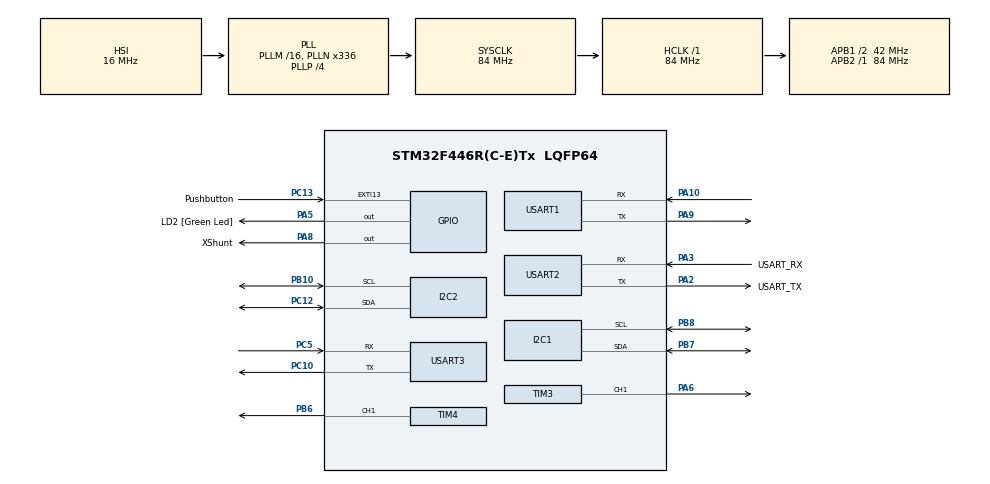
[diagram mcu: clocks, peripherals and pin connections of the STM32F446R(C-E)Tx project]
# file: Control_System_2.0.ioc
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ADC1.Channel-0\#ChannelRegularConversion=ADC_CHANNEL_TEMPSENSOR
ADC1.ContinuousConvMode=ENABLE
ADC1.DMAContinuousRequests=ENABLE
ADC1.NbrOfConversionFlag=1
ADC1.Rank-0\#ChannelRegularConversion=1
ADC1.SamplingTime-0\#ChannelRegularConversion=ADC_SAMPLETIME_84CYCLES
ADC1.ScanConvMode=ENABLE
ADC1.master=1
Dma.ADC1.0.Direction=DMA_PERIPH_TO_MEMORY
Dma.ADC1.0.FIFOMode=DMA_FIFOMODE_DISABLE
Dma.ADC1.0.Instance=DMA2_Stream0
Dma.ADC1.0.MemDataAlignment=DMA_MDATAALIGN_HALFWORD
Dma.ADC1.0.MemInc=DMA_MINC_ENABLE
Dma.ADC1.0.Mode=DMA_CIRCULAR
Dma.ADC1.0.PeriphDataAlignment=DMA_PDATAALIGN_HALFWORD
Dma.ADC1.0.PeriphInc=DMA_PINC_DISABLE
Dma.ADC1.0.Priority=DMA_PRIORITY_LOW
Dma.Request0=ADC1
I2C2.I2C_Mode=I2C_Fast
Mcu.Family=STM32F4
Mcu.Name=STM32F446R(C-E)Tx
Mcu.Package=LQFP64
NVIC.DMA2_Stream0_IRQn=true\:0\:0\:false\:false\:true\:false\:true\:true
NVIC.EXTI15_10_IRQn=true\:0\:0\:false\:false\:true\:true\:true\:true
NVIC.PriorityGroup=NVIC_PRIORITYGROUP_0
NVIC.USART3_IRQn=true\:0\:0\:false\:false\:true\:true\:true\:true
PA10.Mode=Asynchronous
PA10.Signal=USART1_RX
PA13.GPIO_Label=TMS
PA13.Mode=Serial_Wire
PA13.Signal=SYS_JTMS-SWDIO
PA14.GPIO_Label=TCK
PA14.Mode=Serial_Wire
PA14.Signal=SYS_JTCK-SWCLK
PA2.GPIO_Label=USART_TX
PA2.Mode=Asynchronous
PA2.Signal=USART2_TX
PA3.GPIO_Label=USART_RX
PA3.Mode=Asynchronous
PA3.Signal=USART2_RX
PA5.GPIO_Label=LD2 [Green Led]
PA5.Signal=GPIO_Output
PA6.Signal=S_TIM3_CH1
PA8.GPIO_Label=XShunt
PA8.Signal=GPIO_Output
PA9.Mode=Asynchronous
PA9.Signal=USART1_TX
PB10.Mode=I2C
PB10.Signal=I2C2_SCL
PB3.GPIO_Label=SWO
PB3.Signal=SYS_JTDO-SWO
PB6.Signal=S_TIM4_CH1
PB7.Mode=I2C
PB7.Signal=I2C1_SDA
PB8.Mode=I2C
PB8.Signal=I2C1_SCL
PC10.Mode=Asynchronous
PC10.Signal=USART3_TX
PC12.Mode=I2C
PC12.Signal=I2C2_SDA
PC13.GPIO_Label=Pushbutton
PC13.GPIO_ModeDefaultEXTI=GPIO_MODE_IT_FALLING
PC13.Signal=GPXTI13
PC14-OSC32_IN.Mode=LSE-External-Oscillator
PC14-OSC32_IN.Signal=RCC_OSC32_IN
PC15-OSC32_OUT.Mode=LSE-External-Oscillator
PC15-OSC32_OUT.Signal=RCC_OSC32_OUT
PC5.Mode=Asynchronous
PC5.Signal=USART3_RX
PH0-OSC_IN.Mode=HSE-External-Oscillator
PH0-OSC_IN.Signal=RCC_OSC_IN
PH1-OSC_OUT.Mode=HSE-External-Oscillator
PH1-OSC_OUT.Signal=RCC_OSC_OUT
ProjectManager.HeapSize=0x200
ProjectManager.StackSize=0x400
ProjectManager.TargetToolchain=STM32CubeIDE
RCC.48MHZClocksFreq_Value=84000000
RCC.AHBFreq_Value=84000000
RCC.APB1CLKDivider=RCC_HCLK_DIV2
RCC.APB1Freq_Value=42000000
RCC.APB1TimFreq_Value=84000000
RCC.APB2Freq_Value=84000000
RCC.APB2TimFreq_Value=84000000
RCC.CortexFreq_Value=84000000
RCC.FLatency-AdvancedSettings=FLASH_LATENCY_2
RCC.HCLKFreq_Value=84000000
RCC.HSE_VALUE=8000000
RCC.HSI_VALUE=16000000
RCC.PLLN=336
RCC.PLLP=RCC_PLLP_DIV4
RCC.SYSCLKFreq_VALUE=84000000
RCC.SYSCLKSource=RCC_SYSCLKSOURCE_PLLCLK
RCC.USBFreq_Value=168000000
RCC.VCOOutputFreq_Value=336000000
RTC.Date=20
RTC.Format=RTC_FORMAT_BIN
RTC.Hours=23
RTC.Minutes=59
RTC.Month=RTC_MONTH_MAY
RTC.Seconds=45
RTC.WeekDay=RTC_WEEKDAY_WEDNESDAY
RTC.Year=26
SH.S_TIM3_CH1.0=TIM3_CH1,PWM Generation1 CH1
SH.S_TIM4_CH1.0=TIM4_CH1,PWM Generation1 CH1
TIM3.Channel-PWM\ Generation1\ CH1=TIM_CHANNEL_1
TIM3.Period=1599
TIM4.Channel-PWM\ Generation1\ CH1=TIM_CHANNEL_1
TIM4.Period=1599
USART1.VirtualMode=VM_ASYNC
USART2.VirtualMode=VM_ASYNC
USART3.VirtualMode=VM_ASYNC
VP_ADC1_TempSens_Input.Mode=IN-TempSens
VP_RTC_VS_RTC_Activate.Mode=RTC_Enabled
VP_RTC_VS_RTC_Calendar.Mode=RTC_Calendar
VP_TIM3_VS_ClockSourceINT.Mode=Internal
VP_TIM4_VS_ClockSourceINT.Mode=Internal
board=NUCLEO-F446RE

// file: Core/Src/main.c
/* USER CODE BEGIN Header */
/**
  ******************************************************************************
  * @file           : main.c
  * @brief          : Main program body
  ******************************************************************************
  * @attention
  *
  * Copyright (c) 2026 STMicroelectronics.
  * All rights reserved.
  *
  * This software is licensed under terms that can be found in the LICENSE file
  * in the root directory of this software component.
  * If no LICENSE file comes with this software, it is provided AS-IS.
  *
  ******************************************************************************
  */
/* USER CODE END Header */
#include "main.h"

/* USER CODE BEGIN Includes */
#include "battery.h"
#include "ToF.h"
#include "Sonar.h"
#include <stdio.h>
#include "telemetry.h"
#include "temp_sensor.h"
#include "mission_rx.h"
/* USER CODE END Includes */

/* USER CODE BEGIN PTD */
/* Telemetry pacing */
#define TELEM_PERIOD_MS  500u
uint32_t last_telem_ms = 0;
/* USER CODE END PTD */

/* USER CODE BEGIN PD */
#define MIN 65 //Minimum position of plunger of 4cm
#define MAX 100 //Maximum position of plunger of 12cm
/* USER CODE END PD */

ADC_HandleTypeDef hadc1;
DMA_HandleTypeDef hdma_adc1;

I2C_HandleTypeDef hi2c1;
I2C_HandleTypeDef hi2c2;

RTC_HandleTypeDef hrtc;

TIM_HandleTypeDef htim3;
TIM_HandleTypeDef htim4;

UART_HandleTypeDef huart1;
UART_HandleTypeDef huart2;
UART_HandleTypeDef huart3;

/* USER CODE BEGIN PV */
uint32_t current_time;
BatteryData_t bat;
uint32_t prev_time;
int mission_init = 0;
uint32_t t_begin = 0;
int time_saved = 0;
uint32_t time_elapsed = 0;
uint32_t current = 0;
int mission_complete = 0;

/* ---- Live sensor state: refreshed by UpdateSensors(), readable anywhere ---- */
float    soc          = 0.0f;     /* battery state of charge, % */
uint16_t mm           = 0;        /* ToF (plunger position), mm */
uint16_t sonar_dist   = 0;        /* sonar (obstacle distance), mm */
Sonar_Handle g_sonar;             /* global sonar handle */

RTC_TimeTypeDef sTime;
RTC_DateTypeDef sDate;

/* USER CODE END PV */

void SystemClock_Config(void);
static void MX_GPIO_Init(void);
static void MX_DMA_Init(void);
static void MX_ADC1_Init(void);
static void MX_RTC_Init(void);
static void MX_TIM3_Init(void);
static void MX_TIM4_Init(void);
static void MX_USART2_UART_Init(void);
static void MX_I2C1_Init(void);
static void MX_I2C2_Init(void);
static void MX_USART1_UART_Init(void);
static void MX_USART3_UART_Init(void);

/* USER CODE BEGIN 0 */

/* Send a telemetry packet at most once every TELEM_PERIOD_MS.
   Non-blocking: returns immediately if it's not yet time. */
static void Telemetry_Tick(void)
{
    uint32_t now = HAL_GetTick();
    if ((now - last_telem_ms) < TELEM_PERIOD_MS) {
        return;
    }
    last_telem_ms = now;

    /* MCU internal temp isn't wired up here — pass the sentinel.
       If you later sample ADC1 (TEMPSENSOR channel), replace this. */
    float mcu_temp = TempSensor_ReadC();
    Telemetry_Send(&bat, mm, sonar_dist, mcu_temp);
}

static void UpdateSensors(void)
{
    /* Battery — rate-limited internally, safe to call often */
    Battery_Update();
    Battery_GetData(&bat);
    soc = bat.soc_pct;

    /* ToF (plunger position) */
    uint16_t tof = ToF_ReadDistance(&hi2c2);
    if (tof > 0) {
        mm = tof;
    }

    /* Sonar (obstacle distance) — keep last good reading on error */
    uint16_t sd = 0;
    Sonar_GetDistance(&g_sonar, &sd);
        sonar_dist = sd;

}
/*A function that stops motor from over exceeding limits*/
void stop_motor(void)
{
    TIM3->CCR1 = 0;
    TIM4->CCR1 = 0;
    UpdateSensors();   /* keep state fresh even at stop */
    Telemetry_Tick();
}

/*Function to check initial plunger position and force it to minimum so that upon mission start we can pull in water and descend*/
void Force_plunger_min(void)
{
    UpdateSensors();
    while (mm > MIN) {
        TIM4->CCR1 = 1599;
        UpdateSensors();
        Telemetry_Tick();
        /* Safety: bail out if battery dies mid-move */
        if (soc < 20) break;

        HAL_Delay(2);
    }
    stop_motor();
}

/* Push plunger to MAX (pulls water in) → platform sinks. */
void descend(void)
{
    UpdateSensors();
    while (mm < MAX) {
        TIM3->CCR1 = 1599;
        UpdateSensors();
        Telemetry_Tick();
        /* Safety: stop if battery dies */
        if (soc < 20) break;

        HAL_Delay(2);
    }
    stop_motor();
}

/* Pull plunger back toward MIN → platform rises.
   Exits early if an obstacle is detected by the sonar. */
void ascend(void)
{
    UpdateSensors();
    while (mm > MIN && sonar_dist > 1000) {
        TIM4->CCR1 = 1599;
        UpdateSensors();
        Telemetry_Tick();
        HAL_Delay(2);
    }
    stop_motor();
}

void HAL_GPIO_EXTI_Callback(uint16_t GPIO_Pin)
 {

	current_time = HAL_GetTick();
 	if ((GPIO_Pin == Pushbutton_Pin) && (current_time - prev_time > 10))
 	{

 		//TODO: Update mission initiation status
 		mission_init = 1;

 		prev_time = current_time;

 	}
 }

uint32_t to_seconds(uint8_t hours, uint8_t minutes, uint8_t seconds) {
    return (hours * 3600) + (minutes * 60) + seconds;
}

/* ============================================================
 *  ONE-SHOT CALIBRATION
 *  Comment out this whole block after running it once.
 *  ============================================================
 *  Procedure:
 *    1. Place sensor exactly TOF_CAL_NEAR_REF_MM from a flat target.
 *    2. Power on / reset — onboard LED stays ON for 5 s (get ready).
 *    3. LED blinks fast while it captures 50 samples (~3 s).
 *    4. LED stays ON for 5 s — move target to TOF_CAL_FAR_REF_MM.
 *    5. LED blinks fast again — captures 50 more samples.
 *    6. LED gives 3 quick flashes = saved, or stays on solid = failed.
 *    7. Comment out the call and reflash.
 * ============================================================ */
static void RunOneShotCalibration(I2C_HandleTypeDef *hi2c)
{
    /* Stage 1: prompt for NEAR target */
    HAL_GPIO_WritePin(GPIOA, LD2_Pin, GPIO_PIN_SET);  /* LED ON (active high on Nucleo) */
    HAL_Delay(5000);

    /* Capture NEAR */
    HAL_GPIO_WritePin(GPIOA, LD2_Pin, GPIO_PIN_RESET);  /* LED OFF */
    uint16_t measured_near = ToF_AverageRaw(hi2c, TOF_CAL_SAMPLES);

    /* Stage 2: prompt for FAR target */
    HAL_GPIO_WritePin(GPIOA, LD2_Pin, GPIO_PIN_SET);  /* LED ON */
    HAL_Delay(5000);

    /* Capture FAR */
    HAL_GPIO_WritePin(GPIOA, LD2_Pin, GPIO_PIN_RESET);  /* LED OFF */
    uint16_t measured_far = ToF_AverageRaw(hi2c, TOF_CAL_SAMPLES);

    /* Compute + persist */
    uint8_t ok = ToF_Calibrate(measured_near, measured_far,
                               TOF_CAL_NEAR_REF_MM, TOF_CAL_FAR_REF_MM);

    if (ok)
    {
        /* 3 quick flashes = success */
        for (int i = 0; i < 6; i++)
        {
            HAL_GPIO_TogglePin(GPIOA, LD2_Pin);
            HAL_Delay(100);
        }
        HAL_GPIO_WritePin(GPIOA, LD2_Pin, GPIO_PIN_SET);  /* LED OFF */
    }
    else
    {
        /* Solid ON = failure indication */
        HAL_GPIO_WritePin(GPIOA, LD2_Pin, GPIO_PIN_RESET);
        while (1) {}  /* halt so you notice */
    }
}

static void ErrorBlink(void)
{
    while (1)
    {
    	HAL_GPIO_TogglePin(GPIOA, LD2_Pin);
        HAL_Delay(200);
    }
}
/* USER CODE END 0 */

int main(void)
{

  /* MCU Configuration--------------------------------------------------------*/

  /* Reset of all peripherals, Initializes the Flash interface and the Systick. */
  HAL_Init();

  /* Configure the system clock */
  SystemClock_Config();

  /* Initialize all configured peripherals */
  MX_GPIO_Init();
  MX_DMA_Init();
  MX_ADC1_Init();
  MX_RTC_Init();
  MX_TIM3_Init();
  MX_TIM4_Init();
  MX_USART2_UART_Init();
  MX_I2C1_Init();
  MX_I2C2_Init();
  MX_USART1_UART_Init();
  MX_USART3_UART_Init();
  /* USER CODE BEGIN 2 */
  HAL_TIM_PWM_Start(&htim3, TIM_CHANNEL_1);
    HAL_TIM_PWM_Start(&htim4, TIM_CHANNEL_1);

    HAL_GPIO_WritePin(XShunt_GPIO_Port, XShunt_Pin, GPIO_PIN_RESET);
    HAL_Delay(10);
    HAL_GPIO_WritePin(XShunt_GPIO_Port, XShunt_Pin, GPIO_PIN_SET);
    HAL_Delay(10);

    if (ToF_Init(&hi2c2) != HAL_OK)
        {
            ErrorBlink();
        }

  	if(Battery_Init(&hi2c1) != HAL_OK){
  		Error_Handler();
  	}

  	if (Sonar_Init(&g_sonar, &huart1) != SONAR_OK) {
  	      /* Sonar init failed — hang. Swap for ErrorBlink() if you'd rather see it. */
  	      while (1) { }
  	  }

  	Telemetry_Init(&huart3);

  	TempSensor_Init(&hadc1);

  	MissionRx_Init(&huart3);

  	HAL_Delay(1000);

  	HAL_GPIO_WritePin(GPIOA, LD2_Pin, 0);

    	    	/* Infinite loop */
  	  /* USER CODE BEGIN WHILE */
  	  while (1)
  	  {
  	      /* RTC snapshot — GetDate must follow GetTime on F4 */
  	      HAL_RTC_GetTime(&hrtc, &sTime, RTC_FORMAT_BIN);
  	      HAL_RTC_GetDate(&hrtc, &sDate, RTC_FORMAT_BIN);

  	      /* Refresh all sensors */
  	      UpdateSensors();

  	      Telemetry_Tick();

  	      /* ---- Flow diagram begins here ---- */

  	      /* Gate: Mission Initialized? */
  	      if (!missionInit) {
  	          HAL_Delay(50);
  	          continue;
  	      }

  	    HAL_GPIO_WritePin(GPIOA, LD2_Pin, 1);

  	  /* Gate: Battery Enough? */
  	    	      if (soc <= 30 || mission_complete) {
  	    	          stop_motor();
  	    	          /* If mission is done AND no obstacles, ascend home.
  	    	             Also ascend if battery got low. */
  	    	          if ((mission_complete && sonar_dist > 1000) || soc < 20) {
  	    	              ascend();
  	    	          }
  	    	          HAL_Delay(100);
  	    	          continue;
  	    	      }

  	    	      /* Gate: Plunger at MIN? */
  	    	      if (mm >= MIN) {
  	    	          Force_plunger_min();   /* falls through to DESCEND on next iter */
  	    	          continue;
  	    	      }

  	    	      /* DESCEND */
  	    	      descend();

  	    	      /* Mission timer starts the first time we successfully descended */
  	    	      if (time_saved == 0) {
  	    	          t_begin = to_seconds(sTime.Hours, sTime.Minutes, sTime.Seconds);
  	    	          time_saved = 1;
  	    	      }

  	    	      /* While submerged, keep refreshing time + sensors until mission timeout */
  	    	      while (!mission_complete && soc >= 20) {
  	    	          HAL_RTC_GetTime(&hrtc, &sTime, RTC_FORMAT_BIN);
  	    	          HAL_RTC_GetDate(&hrtc, &sDate, RTC_FORMAT_BIN);
  	    	          UpdateSensors();
  	    	          Telemetry_Tick();

  	    	          current = to_seconds(sTime.Hours, sTime.Minutes, sTime.Seconds);
  	    	          time_elapsed = (current < t_begin)
  	    	                       ? (86400 - t_begin) + current
  	    	                       : (current - t_begin);

  	    	          if (time_elapsed >= 30) {
  	    	              mission_complete = 1;
  	    	          }

  	    	          HAL_Delay(100);
  	    	      }

  	    	      /* Mission done (or battery low) → ASCEND if path is clear */
  	    	      stop_motor();
  	    	      if ((mission_complete && sonar_dist > 1000) || soc < 20) {
  	    	          ascend();
  	    	      }

  }
}

void SystemClock_Config(void)
{
  RCC_OscInitTypeDef RCC_OscInitStruct = {0};
  RCC_ClkInitTypeDef RCC_ClkInitStruct = {0};

  /** Configure the main internal regulator output voltage
  */
  __HAL_RCC_PWR_CLK_ENABLE();
  __HAL_PWR_VOLTAGESCALING_CONFIG(PWR_REGULATOR_VOLTAGE_SCALE3);

  /** Initializes the RCC Oscillators according to the specified parameters
  * in the RCC_OscInitTypeDef structure.
  */
  RCC_OscInitStruct.OscillatorType = RCC_OSCILLATORTYPE_HSI|RCC_OSCILLATORTYPE_LSI;
  RCC_OscInitStruct.LSEState = RCC_LSE_ON;
  RCC_OscInitStruct.HSIState = RCC_HSI_ON;
  RCC_OscInitStruct.HSICalibrationValue = RCC_HSICALIBRATION_DEFAULT;
  RCC_OscInitStruct.LSIState = RCC_LSI_ON;
  RCC_OscInitStruct.PLL.PLLState = RCC_PLL_ON;
  RCC_OscInitStruct.PLL.PLLSource = RCC_PLLSOURCE_HSI;
  RCC_OscInitStruct.PLL.PLLM = 16;
  RCC_OscInitStruct.PLL.PLLN = 336;
  RCC_OscInitStruct.PLL.PLLP = RCC_PLLP_DIV4;
  RCC_OscInitStruct.PLL.PLLQ = 2;
  RCC_OscInitStruct.PLL.PLLR = 2;
  if (HAL_RCC_OscConfig(&RCC_OscInitStruct) != HAL_OK)
  {
    Error_Handler();
  }

  /** Initializes the CPU, AHB and APB buses clocks
  */
  RCC_ClkInitStruct.ClockType = RCC_CLOCKTYPE_HCLK|RCC_CLOCKTYPE_SYSCLK
                              |RCC_CLOCKTYPE_PCLK1|RCC_CLOCKTYPE_PCLK2;
  RCC_ClkInitStruct.SYSCLKSource = RCC_SYSCLKSOURCE_PLLCLK;
  RCC_ClkInitStruct.AHBCLKDivider = RCC_SYSCLK_DIV1;
  RCC_ClkInitStruct.APB1CLKDivider = RCC_HCLK_DIV2;
  RCC_ClkInitStruct.APB2CLKDivider = RCC_HCLK_DIV1;

  if (HAL_RCC_ClockConfig(&RCC_ClkInitStruct, FLASH_LATENCY_2) != HAL_OK)
  {
    Error_Handler();
  }
}

static void MX_ADC1_Init(void)
{

  ADC_ChannelConfTypeDef sConfig = {0};

  /** Configure the global features of the ADC (Clock, Resolution, Data Alignment and number of conversion)
  */
  hadc1.Instance = ADC1;
  hadc1.Init.ClockPrescaler = ADC_CLOCK_SYNC_PCLK_DIV4;
  hadc1.Init.Resolution = ADC_RESOLUTION_12B;
  hadc1.Init.ScanConvMode = ENABLE;
  hadc1.Init.ContinuousConvMode = ENABLE;
  hadc1.Init.DiscontinuousConvMode = DISABLE;
  hadc1.Init.ExternalTrigConvEdge = ADC_EXTERNALTRIGCONVEDGE_NONE;
  hadc1.Init.ExternalTrigConv = ADC_SOFTWARE_START;
  hadc1.Init.DataAlign = ADC_DATAALIGN_RIGHT;
  hadc1.Init.NbrOfConversion = 1;
  hadc1.Init.DMAContinuousRequests = ENABLE;
  hadc1.Init.EOCSelection = ADC_EOC_SINGLE_CONV;
  if (HAL_ADC_Init(&hadc1) != HAL_OK)
  {
    Error_Handler();
  }

  /** Configure for the selected ADC regular channel its corresponding rank in the sequencer and its sample time.
  */
  sConfig.Channel = ADC_CHANNEL_TEMPSENSOR;
  sConfig.Rank = 1;
  sConfig.SamplingTime = ADC_SAMPLETIME_84CYCLES;
  if (HAL_ADC_ConfigChannel(&hadc1, &sConfig) != HAL_OK)
  {
    Error_Handler();
  }

}

static void MX_I2C1_Init(void)
{

  hi2c1.Instance = I2C1;
  hi2c1.Init.ClockSpeed = 100000;
  hi2c1.Init.DutyCycle = I2C_DUTYCYCLE_2;
  hi2c1.Init.OwnAddress1 = 0;
  hi2c1.Init.AddressingMode = I2C_ADDRESSINGMODE_7BIT;
  hi2c1.Init.DualAddressMode = I2C_DUALADDRESS_DISABLE;
  hi2c1.Init.OwnAddress2 = 0;
  hi2c1.Init.GeneralCallMode = I2C_GENERALCALL_DISABLE;
  hi2c1.Init.NoStretchMode = I2C_NOSTRETCH_DISABLE;
  if (HAL_I2C_Init(&hi2c1) != HAL_OK)
  {
    Error_Handler();
  }

}

static void MX_I2C2_Init(void)
{

  hi2c2.Instance = I2C2;
  hi2c2.Init.ClockSpeed = 400000;
  hi2c2.Init.DutyCycle = I2C_DUTYCYCLE_2;
  hi2c2.Init.OwnAddress1 = 0;
  hi2c2.Init.AddressingMode = I2C_ADDRESSINGMODE_7BIT;
  hi2c2.Init.DualAddressMode = I2C_DUALADDRESS_DISABLE;
  hi2c2.Init.OwnAddress2 = 0;
  hi2c2.Init.GeneralCallMode = I2C_GENERALCALL_DISABLE;
  hi2c2.Init.NoStretchMode = I2C_NOSTRETCH_DISABLE;
  if (HAL_I2C_Init(&hi2c2) != HAL_OK)
  {
    Error_Handler();
  }

}

static void MX_RTC_Init(void)
{

  RTC_TimeTypeDef sTime = {0};
  RTC_DateTypeDef sDate = {0};

  /** Initialize RTC Only
  */
  hrtc.Instance = RTC;
  hrtc.Init.HourFormat = RTC_HOURFORMAT_24;
  hrtc.Init.AsynchPrediv = 127;
  hrtc.Init.SynchPrediv = 255;
  hrtc.Init.OutPut = RTC_OUTPUT_DISABLE;
  hrtc.Init.OutPutPolarity = RTC_OUTPUT_POLARITY_HIGH;
  hrtc.Init.OutPutType = RTC_OUTPUT_TYPE_OPENDRAIN;
  if (HAL_RTC_Init(&hrtc) != HAL_OK)
  {
    Error_Handler();
  }

  /** Initialize RTC and set the Time and Date
  */
  sTime.Hours = 23;
  sTime.Minutes = 59;
  sTime.Seconds = 45;
  sTime.DayLightSaving = RTC_DAYLIGHTSAVING_NONE;
  sTime.StoreOperation = RTC_STOREOPERATION_RESET;
  if (HAL_RTC_SetTime(&hrtc, &sTime, RTC_FORMAT_BIN) != HAL_OK)
  {
    Error_Handler();
  }
  sDate.WeekDay = RTC_WEEKDAY_WEDNESDAY;
  sDate.Month = RTC_MONTH_MAY;
  sDate.Date = 20;
  sDate.Year = 26;

  if (HAL_RTC_SetDate(&hrtc, &sDate, RTC_FORMAT_BIN) != HAL_OK)
  {
    Error_Handler();
  }

}

static void MX_TIM3_Init(void)
{

  TIM_ClockConfigTypeDef sClockSourceConfig = {0};
  TIM_MasterConfigTypeDef sMasterConfig = {0};
  TIM_OC_InitTypeDef sConfigOC = {0};

  htim3.Instance = TIM3;
  htim3.Init.Prescaler = 0;
  htim3.Init.CounterMode = TIM_COUNTERMODE_UP;
  htim3.Init.Period = 1599;
  htim3.Init.ClockDivision = TIM_CLOCKDIVISION_DIV1;
  htim3.Init.AutoReloadPreload = TIM_AUTORELOAD_PRELOAD_DISABLE;
  if (HAL_TIM_Base_Init(&htim3) != HAL_OK)
  {
    Error_Handler();
  }
  sClockSourceConfig.ClockSource = TIM_CLOCKSOURCE_INTERNAL;
  if (HAL_TIM_ConfigClockSource(&htim3, &sClockSourceConfig) != HAL_OK)
  {
    Error_Handler();
  }
  if (HAL_TIM_PWM_Init(&htim3) != HAL_OK)
  {
    Error_Handler();
  }
  sMasterConfig.MasterOutputTrigger = TIM_TRGO_RESET;
  sMasterConfig.MasterSlaveMode = TIM_MASTERSLAVEMODE_DISABLE;
  if (HAL_TIMEx_MasterConfigSynchronization(&htim3, &sMasterConfig) != HAL_OK)
  {
    Error_Handler();
  }
  sConfigOC.OCMode = TIM_OCMODE_PWM1;
  sConfigOC.Pulse = 0;
  sConfigOC.OCPolarity = TIM_OCPOLARITY_HIGH;
  sConfigOC.OCFastMode = TIM_OCFAST_DISABLE;
  if (HAL_TIM_PWM_ConfigChannel(&htim3, &sConfigOC, TIM_CHANNEL_1) != HAL_OK)
  {
    Error_Handler();
  }
  HAL_TIM_MspPostInit(&htim3);

}

static void MX_TIM4_Init(void)
{

  TIM_ClockConfigTypeDef sClockSourceConfig = {0};
  TIM_MasterConfigTypeDef sMasterConfig = {0};
  TIM_OC_InitTypeDef sConfigOC = {0};

  htim4.Instance = TIM4;
  htim4.Init.Prescaler = 0;
  htim4.Init.CounterMode = TIM_COUNTERMODE_UP;
  htim4.Init.Period = 1599;
  htim4.Init.ClockDivision = TIM_CLOCKDIVISION_DIV1;
  htim4.Init.AutoReloadPreload = TIM_AUTORELOAD_PRELOAD_DISABLE;
  if (HAL_TIM_Base_Init(&htim4) != HAL_OK)
  {
    Error_Handler();
  }
  sClockSourceConfig.ClockSource = TIM_CLOCKSOURCE_INTERNAL;
  if (HAL_TIM_ConfigClockSource(&htim4, &sClockSourceConfig) != HAL_OK)
  {
    Error_Handler();
  }
  if (HAL_TIM_PWM_Init(&htim4) != HAL_OK)
  {
    Error_Handler();
  }
  sMasterConfig.MasterOutputTrigger = TIM_TRGO_RESET;
  sMasterConfig.MasterSlaveMode = TIM_MASTERSLAVEMODE_DISABLE;
  if (HAL_TIMEx_MasterConfigSynchronization(&htim4, &sMasterConfig) != HAL_OK)
  {
    Error_Handler();
  }
  sConfigOC.OCMode = TIM_OCMODE_PWM1;
  sConfigOC.Pulse = 0;
  sConfigOC.OCPolarity = TIM_OCPOLARITY_HIGH;
  sConfigOC.OCFastMode = TIM_OCFAST_DISABLE;
  if (HAL_TIM_PWM_ConfigChannel(&htim4, &sConfigOC, TIM_CHANNEL_1) != HAL_OK)
  {
    Error_Handler();
  }
  HAL_TIM_MspPostInit(&htim4);

}

static void MX_USART1_UART_Init(void)
{

  huart1.Instance = USART1;
  huart1.Init.BaudRate = 115200;
  huart1.Init.WordLength = UART_WORDLENGTH_8B;
  huart1.Init.StopBits = UART_STOPBITS_1;
  huart1.Init.Parity = UART_PARITY_NONE;
  huart1.Init.Mode = UART_MODE_TX_RX;
  huart1.Init.HwFlowCtl = UART_HWCONTROL_NONE;
  huart1.Init.OverSampling = UART_OVERSAMPLING_16;
  if (HAL_UART_Init(&huart1) != HAL_OK)
  {
    Error_Handler();
  }

}

static void MX_USART2_UART_Init(void)
{

  huart2.Instance = USART2;
  huart2.Init.BaudRate = 115200;
  huart2.Init.WordLength = UART_WORDLENGTH_8B;
  huart2.Init.StopBits = UART_STOPBITS_1;
  huart2.Init.Parity = UART_PARITY_NONE;
  huart2.Init.Mode = UART_MODE_TX_RX;
  huart2.Init.HwFlowCtl = UART_HWCONTROL_NONE;
  huart2.Init.OverSampling = UART_OVERSAMPLING_16;
  if (HAL_UART_Init(&huart2) != HAL_OK)
  {
    Error_Handler();
  }

}

static void MX_USART3_UART_Init(void)
{

  huart3.Instance = USART3;
  huart3.Init.BaudRate = 115200;
  huart3.Init.WordLength = UART_WORDLENGTH_8B;
  huart3.Init.StopBits = UART_STOPBITS_1;
  huart3.Init.Parity = UART_PARITY_NONE;
  huart3.Init.Mode = UART_MODE_TX_RX;
  huart3.Init.HwFlowCtl = UART_HWCONTROL_NONE;
  huart3.Init.OverSampling = UART_OVERSAMPLING_16;
  if (HAL_UART_Init(&huart3) != HAL_OK)
  {
    Error_Handler();
  }

}

static void MX_DMA_Init(void)
{

  /* DMA controller clock enable */
  __HAL_RCC_DMA2_CLK_ENABLE();

  /* DMA interrupt init */
  /* DMA2_Stream0_IRQn interrupt configuration */
  HAL_NVIC_SetPriority(DMA2_Stream0_IRQn, 0, 0);
  HAL_NVIC_EnableIRQ(DMA2_Stream0_IRQn);

}

static void MX_GPIO_Init(void)
{
  GPIO_InitTypeDef GPIO_InitStruct = {0};

  /* GPIO Ports Clock Enable */
  __HAL_RCC_GPIOC_CLK_ENABLE();
  __HAL_RCC_GPIOH_CLK_ENABLE();
  __HAL_RCC_GPIOA_CLK_ENABLE();
  __HAL_RCC_GPIOB_CLK_ENABLE();

  /*Configure GPIO pin Output Level */
  HAL_GPIO_WritePin(GPIOA, LD2_Pin|XShunt_Pin, GPIO_PIN_RESET);

  /*Configure GPIO pin : Pushbutton_Pin */
  GPIO_InitStruct.Pin = Pushbutton_Pin;
  GPIO_InitStruct.Mode = GPIO_MODE_IT_FALLING;
  GPIO_InitStruct.Pull = GPIO_NOPULL;
  HAL_GPIO_Init(Pushbutton_GPIO_Port, &GPIO_InitStruct);

  /*Configure GPIO pins : LD2_Pin XShunt_Pin */
  GPIO_InitStruct.Pin = LD2_Pin|XShunt_Pin;
  GPIO_InitStruct.Mode = GPIO_MODE_OUTPUT_PP;
  GPIO_InitStruct.Pull = GPIO_NOPULL;
  GPIO_InitStruct.Speed = GPIO_SPEED_FREQ_LOW;
  HAL_GPIO_Init(GPIOA, &GPIO_InitStruct);

  /* EXTI interrupt init*/
  HAL_NVIC_SetPriority(EXTI15_10_IRQn, 0, 0);
  HAL_NVIC_EnableIRQ(EXTI15_10_IRQn);

}

void Error_Handler(void)
{
  __disable_irq();
  while (1)
  {
  }
}
